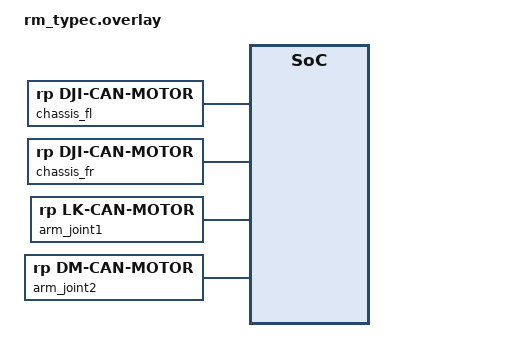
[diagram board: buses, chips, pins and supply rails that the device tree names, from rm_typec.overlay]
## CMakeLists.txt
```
cmake_minimum_required(VERSION 3.20)

if(NOT DEFINED BOARD)
	set(BOARD damiao_mc02)
endif()
find_package(Zephyr REQUIRED HINTS $ENV{ZEPHYR_BASE})
project(bldcm_sample)

target_sources(app PRIVATE src/main.cpp)
```

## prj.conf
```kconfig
CONFIG_CAN=y
CONFIG_CPP=y
CONFIG_CAN_RX_MANAGER=y
CONFIG_CAN_TX_MANAGER=y
CONFIG_BLDCM=y
CONFIG_ASSERT=y

# DJI 电机 CAN 通常为 1Mbps；
CONFIG_CAN_DEFAULT_BITRATE=1000000

# # msgq 满导致丢帧监控
# CONFIG_CAN_RX_MANAGER_MSGQ_MONITOR=y
# CONFIG_CAN_RX_MANAGER_MSGQ_WARN_EVERY_N_DROPS=1

# DJI 心跳自动检测（shared system workqueue）
CONFIG_BLDCM_HEARTBEAT_AUTOCHECK=y
CONFIG_BLDCM_HEARTBEAT_POLL_PERIOD_MS=100



# RTT (Real-Time Transfer) Configuration
CONFIG_USE_SEGGER_RTT=y
CONFIG_CONSOLE=y
CONFIG_RTT_CONSOLE=y
CONFIG_UART_CONSOLE=n

# Optional: Enable RTT logging backend
CONFIG_LOG_BACKEND_RTT=y
CONFIG_LOG_BACKEND_UART=n

CONFIG_LOG=y
```

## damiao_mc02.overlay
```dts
/*dts-test-motor*/
/ {
    can_rx_mgr1: can_rx_mgr1 {
        compatible = "rp,can-rx-manager";
        status = "okay";
        can-bus = <&fdcan1>;
        label = "can_rx_mgr1";
    };

    can_tx_mgr1: can_tx_mgr1 {
        compatible = "rp,can-tx-manager";
        status = "okay";
        can-bus = <&fdcan1>;
        label = "can_tx_mgr1";
    };

    can_rx_mgr2: can_rx_mgr2 {
        compatible = "rp,can-rx-manager";
        status = "okay";
        can-bus = <&fdcan2>;
        label = "can_rx_mgr2";
    };

    can_tx_mgr2: can_tx_mgr2 {
        compatible = "rp,can-tx-manager";
        status = "okay";
        can-bus = <&fdcan2>;
        label = "can_tx_mgr2";
    };

    chassis_fl:motor1{
        compatible = "rp,dji-can-motor";
        status = "okay";
        can-bus = <&fdcan2>;
        rx-manager = <&can_rx_mgr2>;
        tx-manager = <&can_tx_mgr2>;
        tx-id = <0x200>;
        rx-id = <0x201>;
        motor-type = "M3508";
        label = "chassis_fl";
        control-mode = "torque";
        Tx-feq = <1000>;
        motor-encoder = <8192>;
        motor-transmission-ratio = <19>;
    };

    chassis_fr:motor2{
        compatible = "rp,dji-can-motor";
        status = "okay";
        can-bus = <&fdcan2>;
        rx-manager = <&can_rx_mgr2>;
        tx-manager = <&can_tx_mgr2>;
        tx-id = <0x200>;
        rx-id = <0x202>;
        motor-type = "M3508";
        label = "chassis_fr";
        control-mode = "torque";
        Tx-feq = <1000>;
        motor-encoder = <8192>;
        motor-transmission-ratio = <19>;
    };

    arm_joint1:motor3{
        compatible = "rp,lk-can-motor";
        status = "okay";
        can-bus = <&fdcan2>;
        rx-manager = <&can_rx_mgr2>;
        tx-manager = <&can_tx_mgr2>;
        tx-id = <0x141>;
        rx-id = <0x141>;
        motor-type = "MG";
        label = "arm_joint1";
        motor-encoder = <65535>;
        motor-transmission-ratio = <6>;
        Tx-feq = <1000>;
        control-mode = "single_control";
    };

};
```

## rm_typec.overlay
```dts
/*dts-test-motor*/
/ {
    can_rx_mgr1: can_rx_mgr1 {
        compatible = "rp,can-rx-manager";
        status = "okay";
        can-bus = <&can1>;
        label = "can_rx_mgr1";
    };

    can_tx_mgr1: can_tx_mgr1 {
        compatible = "rp,can-tx-manager";
        status = "okay";
        can-bus = <&can1>;
        label = "can_tx_mgr1";
    };

    can_rx_mgr2: can_rx_mgr2 {
        compatible = "rp,can-rx-manager";
        status = "okay";
        can-bus = <&can2>;
        label = "can_rx_mgr2";
    };

    can_tx_mgr2: can_tx_mgr2 {
        compatible = "rp,can-tx-manager";
        status = "okay";
        can-bus = <&can2>;
        label = "can_tx_mgr2";
    };

    chassis_fl:motor1{
        compatible = "rp,dji-can-motor";
        status = "okay";
        can-bus = <&can2>;
        rx-manager = <&can_rx_mgr2>;
        tx-manager = <&can_tx_mgr2>;
        tx-id = <0x200>;
        rx-id = <0x201>;
        motor-type = "M3508";
        label = "chassis_fl";
        control-mode = "torque";
        Tx-feq = <1000>;
        motor-encoder = <8192>;
        motor-transmission-ratio = <19>;
    };

    chassis_fr:motor2{
        compatible = "rp,dji-can-motor";
        status = "okay";
        can-bus = <&can2>;
        rx-manager = <&can_rx_mgr2>;
        tx-manager = <&can_tx_mgr2>;
        tx-id = <0x200>;
        rx-id = <0x202>;
        motor-type = "M3508";
        label = "chassis_fr";
        control-mode = "torque";
        Tx-feq = <1000>;
        motor-encoder = <8192>;
        motor-transmission-ratio = <19>;
    };

    arm_joint1:motor3{
        compatible = "rp,lk-can-motor";
        status = "okay";
        can-bus = <&can2>;
        rx-manager = <&can_rx_mgr2>;
        tx-manager = <&can_tx_mgr2>;
        tx-id = <0x280>;
        rx-id = <0x141>;
        motor-type = "MG";
        label = "arm_joint1";
        motor-encoder = <65535>;
        motor-transmission-ratio = <6>;
        Tx-feq = <1000>;
        control-mode = "mlu_torque";
    };

    arm_joint2:motor4{
        compatible = "rp,dm-can-motor";
        status = "okay";
        can-bus = <&can2>;
        rx-manager = <&can_rx_mgr2>;
        tx-manager = <&can_tx_mgr2>;
        tx-id = <0x02>;
        rx-id = <0x22>;
        motor-type = "DM80";
        label = "arm_joint2";
        control-mode = "MIT";
        Tx-feq = <1000>;
        motor-encoder = <65535>;
        motor-transmission-ratio = <9>;
        vel-max = <45000>;          // 这里的整数都要除以1000才是实际的上限，必须与上位机的值对应
        tq-max = <54000>;
        pos-max = <3141>;
        mit-params-limit = <500000 0 5000 0>;
    };

};
```

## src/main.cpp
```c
#include <zephyr/kernel.h>
#include <zephyr/device.h>
#include <zephyr/devicetree.h>
#include <zephyr/logging/log.h>
#include <zephyr/sys/printk.h>

#include <drivers/bldcm/bldcm.h>
#include <drivers/bldcm/bldcm_dm.h>
#ifdef CONFIG_CAN_TX_MANAGER
#include <drivers/can_tx_manager.h>
#endif
#ifdef CONFIG_CAN_RX_MANAGER
#include <drivers/can_rx_manager.h>
#endif
#include <string.h>
#include <math.h>

LOG_MODULE_REGISTER(app, LOG_LEVEL_INF);

#define MOTOR_3508_CURRENT_MAX 10000
#define MOTOR_2006_CURRENT_MAX 8000
#define MOTOR_MG_CURRENT_MAX 2000

#define CHASSIS_FL_NODE DT_NODELABEL(chassis_fl)
#define CHASSIS_FR_NODE DT_NODELABEL(chassis_fr)
#define ARM_JOINT1_NODE DT_NODELABEL(arm_joint1)        // lk电机
#define ARM_JOINT2_NODE DT_NODELABEL(arm_joint2)        // dm电机

static float angle_rad = 0.0f;        // 正弦函数的角度（弧度）
static const float ANGLE_STEP = 0.1f; // 每次调用的角度步长（控制正弦频率）
#define M_PI 3.14159265358979323846   /* pi */

float choose_current_max(char *motor_type) {
    if(motor_type == NULL)
    {
        return MOTOR_3508_CURRENT_MAX; // 默认值
    }
    if(strcmp(motor_type, "M3508") == 0) {
        return MOTOR_3508_CURRENT_MAX;
    } else if(strcmp(motor_type, "M2006") == 0) {
        return MOTOR_2006_CURRENT_MAX;
    } else if(strcmp(motor_type, "DM80") == 0) {
        return DT_PROP(ARM_JOINT2_NODE, tq_max) / 1000.0f;          // 达妙电机的最大扭矩电流是上位机确定的，因此需要从设备树获取
    } else if (strcmp(motor_type, "MG") == 0) {
        return MOTOR_MG_CURRENT_MAX;
    } else {
        return 0;           // 未知电机不转
    }
}


int main(void)
{
    LOG_INF("[app] start");
    const struct device *motor_fl = DEVICE_DT_GET(CHASSIS_FL_NODE);
    const struct device *motor_fr = DEVICE_DT_GET(CHASSIS_FR_NODE);
    const struct device *arm_joint1 = DEVICE_DT_GET(ARM_JOINT1_NODE);
    const struct device *arm_joint2 = DEVICE_DT_GET(ARM_JOINT2_NODE);

    if (!motor_fl) {
        LOG_ERR("motor FL not found");
        return -ENODEV;
    }
    if (!motor_fr) {
        LOG_ERR("motor FR not found");
        return -ENODEV;
    }
    if (!arm_joint1) {
        LOG_ERR("arm_joint1 not found");
        return -ENODEV;
    }    
    if (!arm_joint2) {
        LOG_ERR("arm_joint2 not found");
        return -ENODEV;
    }
    if (!device_is_ready(motor_fl)) {
        LOG_ERR("motor FL not ready: %s", motor_fl->name);
        return -ENODEV;
    }
    if (!device_is_ready(motor_fr)) {
        LOG_ERR("motor FR not ready: %s", motor_fr->name);
        return -ENODEV;
    }
    if (!device_is_ready(arm_joint1)) {
        LOG_ERR("arm_joint1 not ready: %s", arm_joint1->name);
        return -ENODEV;
    }
    if (!device_is_ready(arm_joint2)) {
        LOG_ERR("joint_dm not ready: %s", arm_joint2->name);
        return -ENODEV;
    }

    float fl_current_max = choose_current_max((char *)DT_PROP(CHASSIS_FL_NODE, motor_type));
    float fr_current_max = choose_current_max((char *)DT_PROP(CHASSIS_FR_NODE, motor_type));
    float lk_current_max = choose_current_max((char *)DT_PROP(ARM_JOINT1_NODE, motor_type));
    float dm_current_max = choose_current_max((char *)DT_PROP(ARM_JOINT2_NODE, motor_type));

    motor_enable(arm_joint2);     // 达妙电机必须先使能

    register_motor(motor_fl);
    register_motor(motor_fr);
    register_motor(arm_joint1);
    register_motor(arm_joint2);

    while (true) {
        float sin_val = sin(angle_rad);
        float flcurrent_float = fl_current_max * 0.15f * sin_val;
        float frcurrent_float = fr_current_max * 0.15f * sin_val;
        float lkcurrent_flaot = lk_current_max * 0.15f * sin_val;
        float dmcurrent_float = dm_current_max * 0.15f * sin_val;
        int flcurrent = (int)round(flcurrent_float);
        int frcurrent = (int)round(frcurrent_float);
        int lkcurrent = (int)round(lkcurrent_flaot);
        int dmcurrent = (int)round(dmcurrent_float);

        // 更新角度（循环0~2π，实现正弦波循环）
        angle_rad += ANGLE_STEP;
        if ((double)angle_rad >= 2 * M_PI)
        {
            angle_rad = 0.0f;
        }

        const smotor_receive_data_t *fl = get_motor_rxdata(motor_fl);
        const smotor_receive_data_t *fr = get_motor_rxdata(motor_fr);
        const smotor_receive_data_t *joint1 = get_motor_rxdata(arm_joint1);
        const smotor_receive_data_t *joint2 = get_motor_rxdata(arm_joint2);

        if(get_motor_heartbeat_status(motor_fl) && fl != NULL) {
            LOG_INF("FL raw_angle=%d speed=%d current=%d alive=%d temp=%d",
                        (int)fl->encoder, (int)fl->speed, (int)fl->iq,
                        get_motor_heartbeat_status(motor_fl) ? 1 : 0, (int)fl->specific_data.m3508.temp);
        }
        if(get_motor_heartbeat_status(motor_fr) && fr != NULL) {
            LOG_INF("FR raw_angle=%d speed=%d current=%d alive=%d temp=%d",
                        (int)fr->encoder, (int)fr->speed, (int)fr->iq,
                        get_motor_heartbeat_status(motor_fr) ? 1 : 0, (int)fr->specific_data.m3508.temp);
        }
        if(get_motor_heartbeat_status(arm_joint1) && joint1 != NULL) {
            LOG_INF("JOINT_LK raw_angle=%d raw_speed=%d current=%d alive=%d",
                        joint1->encoder, (int)joint1->speed, (int)joint1->iq,
                        get_motor_heartbeat_status(arm_joint1) ? 1 : 0);
        }
        if(get_motor_heartbeat_status(arm_joint2) && joint2 != NULL) {
            LOG_INF("JOINT_DM raw_angle=%d raw_speed=%d angle=%.2f speed=%.2f alive=%d",
                    (int)joint2->encoder, (int)joint2->speed, (double)joint2->specific_data.dm.pos_real, (double)joint2->specific_data.dm.vel_real, 
                    get_motor_heartbeat_status(arm_joint2) ? 1 : 0);
        }

        motor_torque_control(motor_fl, flcurrent);
        motor_torque_control(motor_fr, frcurrent);
        motor_torque_control(arm_joint1, lkcurrent);
        dm_mit_control(arm_joint2, 0.0f, 0.0f, 0.0f, 0.0f, dmcurrent);
        
        k_sleep(K_MSEC(100));
    }

    return 0;
}
```
